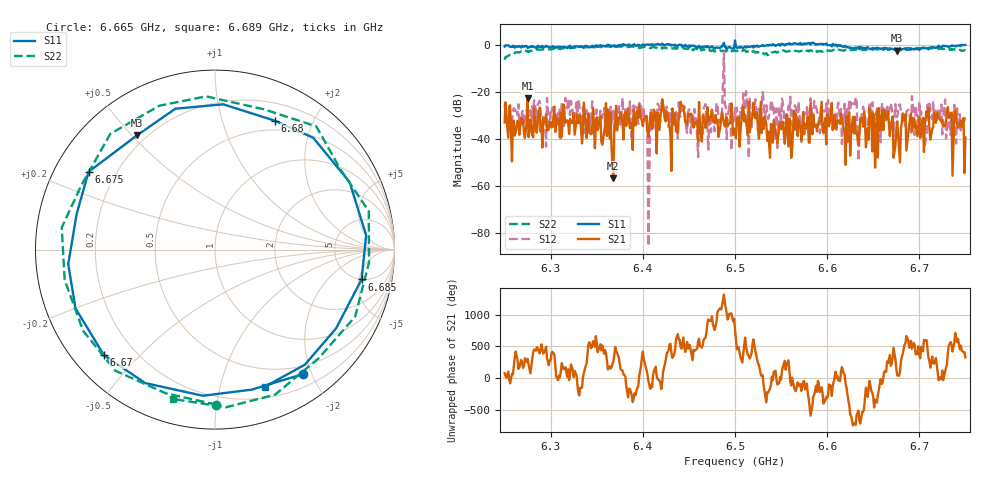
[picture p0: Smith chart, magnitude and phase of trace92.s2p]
# Hz S RI R 50
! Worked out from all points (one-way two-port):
!   401 points, 6.25 GHz to 6.75 GHz, reference 50 ohm
!   highest |S21| = -22.57 dB at 6.275 GHz (marker M1); lowest = -56.9 dB at 6.368 GHz (marker M2)
!   lowest |S11| = -2.3 dB at 6.676 GHz (marker M3), VSWR 7.72, Z = 8.24 + j25.8 ohm
!   |S11| at or under -10 dB: nowhere
!   |S22| runs from -6.1 to -0.2 dB; largest |S21 - S12| = 0.71
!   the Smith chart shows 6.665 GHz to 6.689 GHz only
!   S11 on the Smith chart (normalised r, x): 6.665 GHz: 0.38, -1.87; 6.67 GHz: 0.09, -0.40; 6.675 GHz: 0.10, +0.28; 6.68 GHz: 0.39, +1.49; 6.685 GHz: 4.98, -5.43; 6.689 GHz: 0.31, -1.38
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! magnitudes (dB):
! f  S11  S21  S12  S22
! 6.25 GHz  -0.5  -32.9  -25.3  -6.1
! 6.275 GHz  -1.1  -22.6  -28.6  -2.4
! 6.334 GHz  -0.6  -41.9  -39.2  -0.4
! 6.368 GHz  -0.4  -56.9  -27.9  -0.3
! 6.399 GHz  0.2  -32.1  -25.4  -0.9
! 6.405 GHz  0.3  -37.0  -39.3  -0.8
! 6.418 GHz  0.3  -36.1  -26.2  -1.2
! 6.461 GHz  -0.1  -24.2  -30.3  -1.8
! 6.488 GHz  1.1  -33.4  -2.9  -2.4
! 6.494 GHz  -0.6  -33.3  -24.6  -2.2
! 6.5 GHz  2.1  -35.6  -26.3  -2.1
! 6.584 GHz  1.2  -38.0  -32.2  -2.4
! 6.665 GHz  -1.4  -31.5  -26.3  -1.3
! 6.668 GHz  -1.8  -38.7  -26.3  -1.2
! 6.67 GHz  -1.4  -32.5  -26.8  -1.4
! 6.675 GHz  -1.6  -36.6  -29.6  -1.3
! 6.676 GHz  -2.3  -32.4  -30.6  -1.4
! 6.68 GHz  -2.0  -35.9  -27.8  -1.6
! 6.685 GHz  -1.6  -29.4  -34.5  -1.5
! 6.689 GHz  -1.8  -33.8  -29.0  -1.3
! 6.732 GHz  -0.5  -31.0  -31.9  -1.6
! 6.75 GHz  0.2  -39.3  -30.7  -2.3
